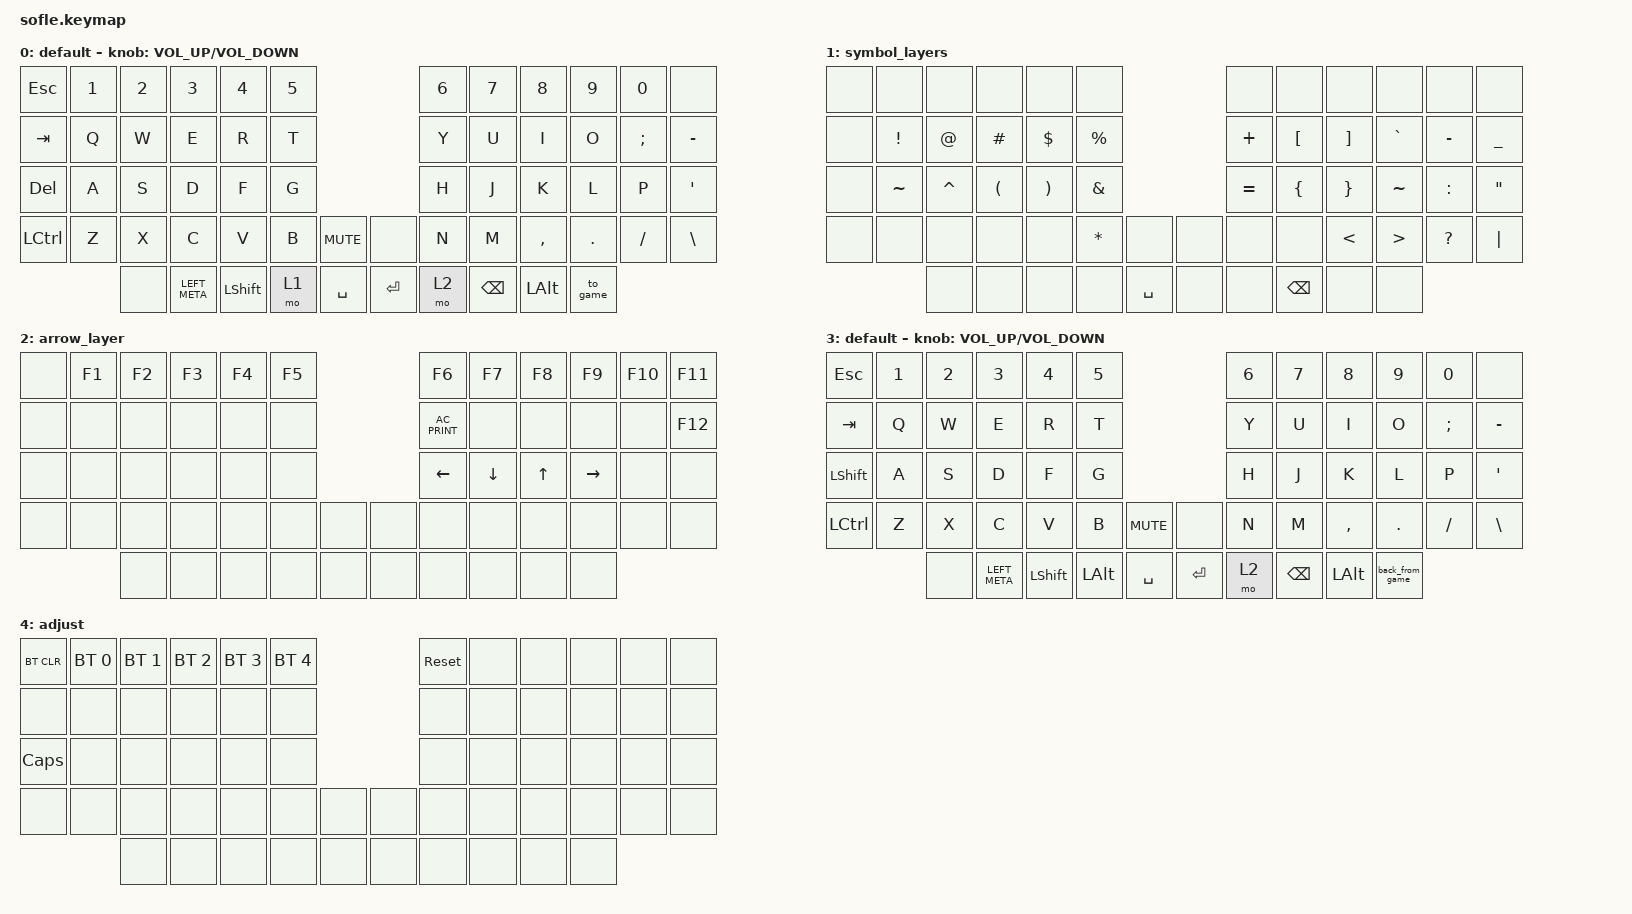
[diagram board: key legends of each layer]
/*
 * Copyright (c) 2020 The ZMK Contributors
 *
 * SPDX-License-Identifier: MIT
 */

#include <behaviors.dtsi>
#include <dt-bindings/zmk/bt.h>
#include <dt-bindings/zmk/keys.h>

#define BASE 0
#define LOWER 1
#define RAISE 2
#define ADJUST 3

/ {
    // Activate ADJUST layer by pressing raise and lower

    conditional_layers {
        compatible = "zmk,conditional-layers";

        Settings {
            if-layers = <1 2>;
            then-layer = <4>;
        };
    };

    combos { compatible = "zmk,combos"; };

    behaviors {
        balanced_tap: balanced_tap {
            compatible = "zmk,behavior-hold-tap";
            label = "BALANCED_TAP";
            bindings = <&kp>, <&kp>;

            #binding-cells = <2>;
            tapping-term-ms = <200>;
            flavor = "balanced";
        };

        to_game: to_game {
            compatible = "zmk,behavior-tap-dance";
            label = "TO_GAME";
            #binding-cells = <0>;
            tapping-term-ms = <250>;
            bindings = <&none>, <&to 3>;
        };

        back_from_game: back_from_game {
            compatible = "zmk,behavior-tap-dance";
            label = "BACK_FROM_GAME";
            #binding-cells = <0>;
            bindings = <&none>, <&to 0>;

            tapping-term-ms = <250>;
        };
    };

    keymap {
        compatible = "zmk,keymap";

        default {
            display-name = "default";

            // ------------------------------------------------------------------------------------------------------------
            // |   `   |  1  |  2  |  3   |  4   |  5   |                   |  6   |  7    |  8    |  9   |   0   |       |
            // |  ESC  |  Q  |  W  |  E   |  R   |  T   |                   |  Y   |  U    |  I    |  O   |   P   | BKSPC |
            // |  TAB  |  A  |  S  |  D   |  F   |  G   |                   |  H   |  J    |  K    |  L   |   ;   |   '   |
            // | SHIFT |  Z  |  X  |  C   |  V   |  B   |  MUTE  |  |       |  N   |  M    |  ,    |  .   |   /   | SHIFT |
            //               | GUI | ALT  | CTRL | LOWER|  ENTER |  | SPACE | RAISE| CTRL  | ALT   | GUI  |

            bindings = <
&kp ESCAPE        &kp N1  &kp N2  &kp N3         &kp N4          &kp N5                           &kp N6  &kp N7         &kp N8        &kp N9    &kp N0    &none
&kp TAB           &kp Q   &kp W   &kp E          &kp R           &kp T                            &kp Y   &kp U          &kp I         &kp O     &kp SEMI  &kp MINUS
&kp DELETE        &kp A   &kp S   &kp D          &kp F           &kp G                            &kp H   &kp J          &kp K         &kp L     &kp P     &kp SQT
&kp LEFT_CONTROL  &kp Z   &kp X   &kp C          &kp V           &kp B   &kp C_MUTE    &none      &kp N   &kp M          &kp COMMA     &kp DOT   &kp FSLH  &kp BACKSLASH
                          &none   &kp LEFT_META  &kp LEFT_SHIFT  &mo 1   &kp SPACE     &kp ENTER  &mo 2   &kp BACKSPACE  &kp LEFT_ALT  &to_game
            >;

            sensor-bindings = <&inc_dec_kp C_VOLUME_UP C_VOLUME_DOWN>;
        };

        symbol_layers {
            bindings = <
&none  &none      &none      &none     &none       &none                              &none      &none          &none          &none             &none         &none
&none  &kp EXCL   &kp AT     &kp HASH  &kp DOLLAR  &kp PERCENT                        &kp PLUS   &kp LBKT       &kp RBKT       &kp GRAVE         &kp MINUS     &kp UNDER
&none  &kp TILDE  &kp CARET  &kp LPAR  &kp RPAR    &kp AMPERSAND                      &kp EQUAL  &kp LBRC       &kp RBRC       &kp TILDE         &kp COLON     &kp DOUBLE_QUOTES
&none  &none      &none      &none     &none       &kp ASTERISK   &none        &none  &none      &none          &kp LESS_THAN  &kp GREATER_THAN  &kp QUESTION  &kp PIPE
                  &none      &none     &none       &none          &kp SPACE    &none  &none      &kp BACKSPACE  &none          &none
            >;
        };

        arrow_layer {
            bindings = <
&none  &kp F1  &kp F2  &kp F3  &kp F4  &kp F5                  &kp F6          &kp F7    &kp F8  &kp F9     &kp F10  &kp F11
&none  &none   &none   &none   &none   &none                   &kp C_AC_PRINT  &none     &none   &none      &none    &kp F12
&none  &none   &none   &none   &none   &none                   &kp LEFT        &kp DOWN  &kp UP  &kp RIGHT  &none    &none
&none  &none   &none   &none   &none   &none   &none    &none  &none           &none     &none   &none      &none    &none
               &none   &none   &none   &none   &none    &none  &none           &none     &none   &none
            >;
        };

        gaming {
            display-name = "default";
            bindings = <
&kp ESCAPE        &kp N1  &kp N2  &kp N3         &kp N4          &kp N5                                 &kp N6  &kp N7         &kp N8        &kp N9           &kp N0    &none
&kp TAB           &kp Q   &kp W   &kp E          &kp R           &kp T                                  &kp Y   &kp U          &kp I         &kp O            &kp SEMI  &kp MINUS
&kp LEFT_SHIFT    &kp A   &kp S   &kp D          &kp F           &kp G                                  &kp H   &kp J          &kp K         &kp L            &kp P     &kp SQT
&kp LEFT_CONTROL  &kp Z   &kp X   &kp C          &kp V           &kp B         &kp C_MUTE    &none      &kp N   &kp M          &kp COMMA     &kp DOT          &kp FSLH  &kp BACKSLASH
                          &none   &kp LEFT_META  &kp LEFT_SHIFT  &kp LEFT_ALT  &kp SPACE     &kp ENTER  &mo 2   &kp BACKSPACE  &kp LEFT_ALT  &back_from_game
            >;

            sensor-bindings = <&inc_dec_kp C_VOLUME_UP C_VOLUME_DOWN>;
        };

        adjust_layer {
            // ----------------------------------------------------------------------------------------------------------------------------
            // | BTCLR  |  BT1    |  BT2    |   BT3   |   BT4   |   BT5   |                  |      |      |       |      |       |       |
            // | EXTPWR | RGB_HUD | RGB_HUI | RGB_SAD | RGB_SAI | RGB_EFF |                  |      |      |       |      |       |       |
            // |        | RGB_BRD | RGB_BRI |         |         |         |                  |      |      |       |      |       |       |
            // |        |         |         |         |         |         | RGB_TOG | |      |      |      |       |      |       |       |
            //                    |         |         |         |         |         | |      |      |      |       |      |

            display-name = "adjust";
            bindings = <
&bt BT_CLR    &bt BT_SEL 0  &bt BT_SEL 1  &bt BT_SEL 2  &bt BT_SEL 3  &bt BT_SEL 4                  &sys_reset  &none  &none  &none  &none  &none
&none         &none         &none         &none         &none         &none                         &none       &none  &none  &none  &none  &none
&kp CAPSLOCK  &none         &none         &none         &none         &none                         &none       &none  &none  &none  &none  &none
&none         &none         &none         &none         &none         &none         &none    &none  &none       &none  &none  &none  &none  &none
                            &none         &none         &none         &none         &none    &none  &none       &none  &none  &none
            >;
        };
    };
};
